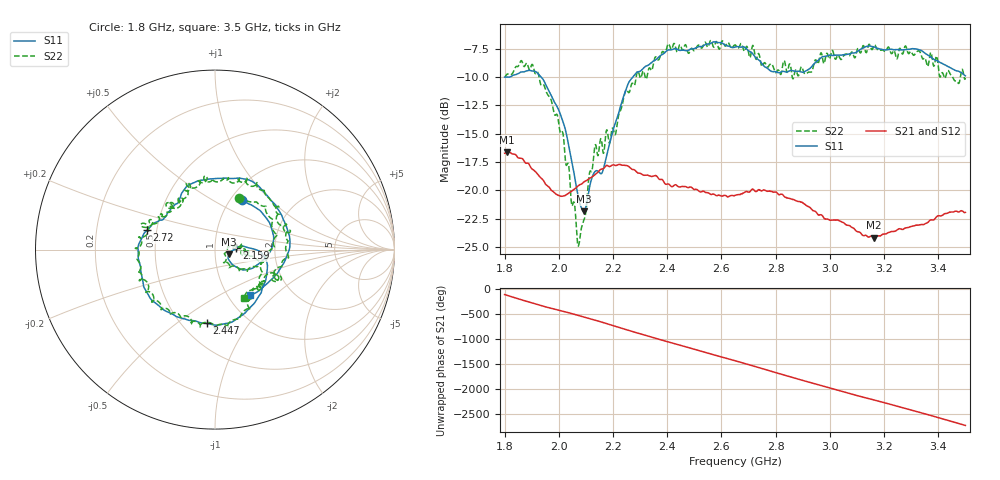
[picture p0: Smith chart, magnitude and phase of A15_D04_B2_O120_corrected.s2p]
! Created with skrf 1.9.0 (http://scikit-rf.org).
# Hz S RI R 50.0
!freq ReS11 ImS11 ReS21 ImS21 ReS12 ImS12 ReS22 ImS22
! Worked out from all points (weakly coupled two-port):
!   1601 points, 1.8 GHz to 3.5 GHz, reference 50 ohm
!   highest |S21| = -16.65 dB at 1.81 GHz (marker M1); lowest = -24.2 dB at 3.163 GHz (marker M2)
!   lowest |S11| = -21.9 dB at 2.092 GHz (marker M3), VSWR 1.18, Z = 58.2 - j3.12 ohm
!   |S11| at or under -10 dB: start of sweep to 1.821 GHz; 1.935 GHz to 2.273 GHz (338.7 MHz wide, 16.1 % of centre)
!   |S22| runs from -24.9 to -6.8 dB; largest |S21 - S12| = 0.0024
!   S11 on the Smith chart (normalised r, x): 1.8 GHz: 1.13, +0.69; 2.159 GHz: 1.27, +0.02; 2.447 GHz: 0.66, -0.65; 2.72 GHz: 0.44, +0.11; 3.5 GHz: 1.27, -0.71
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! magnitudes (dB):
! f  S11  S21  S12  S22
! 1.8 GHz  -10.0  -16.7  -16.7  -10.0
! 1.81 GHz  -10.0  -16.6  -16.7  -9.7
! 1.902 GHz  -9.5  -18.1  -18.1  -8.9
! 1.967 GHz  -11.4  -19.8  -19.9  -11.8
! 2.014 GHz  -13.8  -20.5  -20.5  -14.9
! 2.071 GHz  -20.4  -19.6  -19.6  -24.9
! 2.084 GHz  -21.6  -19.4  -19.4  -23.3
! 2.092 GHz  -21.9  -19.3  -19.3  -22.6
! 2.131 GHz  -18.4  -18.7  -18.6  -16.3
! 2.159 GHz  -18.5  -18.1  -18.1  -15.9
! 2.209 GHz  -14.0  -17.8  -17.8  -15.1
! 2.258 GHz  -10.5  -17.9  -17.9  -11.4
! 2.367 GHz  -8.3  -18.9  -18.9  -8.5
! 2.447 GHz  -7.7  -19.7  -19.7  -7.2
! 2.65 GHz  -7.4  -20.4  -20.4  -7.2
! 2.72 GHz  -8.1  -20.0  -19.9  -7.6
! 2.802 GHz  -9.6  -20.2  -20.2  -9.6
! 2.934 GHz  -9.1  -21.7  -21.7  -9.5
! 3.163 GHz  -7.3  -24.2  -24.1  -7.2
! 3.217 GHz  -7.6  -23.7  -23.7  -7.4
! 3.33 GHz  -7.6  -23.0  -23.0  -7.7
! 3.5 GHz  -9.9  -21.9  -21.9  -10.1
